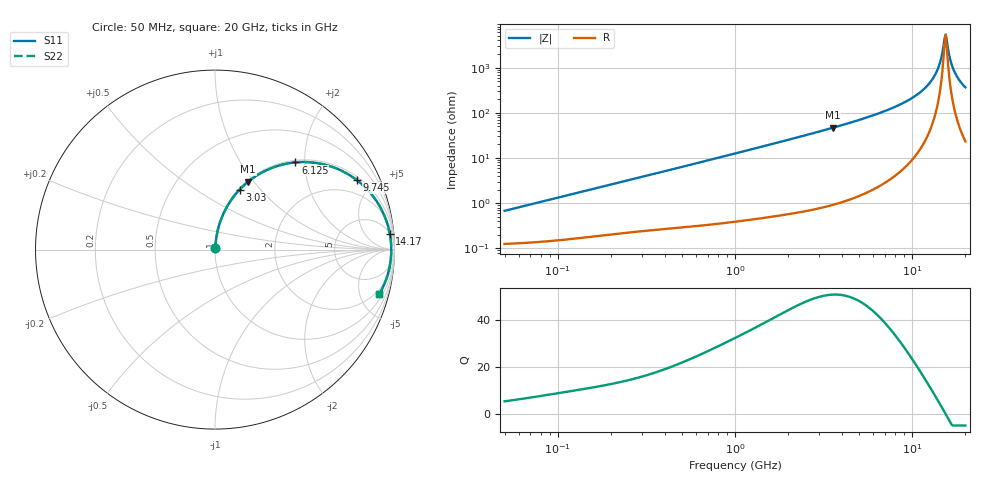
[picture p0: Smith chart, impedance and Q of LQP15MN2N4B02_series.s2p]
!Murata Part Number: LQP15MN2N4B02
!These Parameters are Measured in Series Mode Connection
!  o--[Z]--o
!Port1  Port2
!  o-------o
!Freq. Start=50[MHz] Stop=20[GHz], 401[Steps]
# Hz S RI R 50
!Freq.(Hz) S11(Real) S11(Imag) S21(Real) S21(Imag) S12(Real) S12(Imag) S22(Real) S22(Imag)
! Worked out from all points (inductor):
!   401 points, 50 MHz to 20 GHz, reference 50 ohm
!   read as one part in series: L = 2.11 nH near 51.52 MHz
!   highest Q = 50.9 at 3.572 GHz (marker M1), where L = 2.08 nH
!   self-resonance near 15.27 GHz
!   S11 on the Smith chart (normalised r, x): 50 MHz: 1.00, +0.01; 3.03 GHz: 1.02, +0.78; 6.125 GHz: 1.04, +1.80; 9.745 GHz: 1.16, +3.99; 14.17 GHz: 5, +21; 20 GHz: 1.47, -7.28
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5e7  0.0013 0.00664  0.9987 -0.00664  0.9987 -0.00664  0.0013 0.00664
1.364002e8  0.00202 0.0178  0.998 -0.0178  0.998 -0.0178  0.00202 0.0178
3.721004e8  0.00481 0.0469  0.9952 -0.0469  0.9952 -0.0469  0.00481 0.0469
1e9  0.0192 0.1226  0.9808 -0.1226  0.9808 -0.1226  0.0192 0.1226
2.728004e9  0.1134 0.307  0.8866 -0.307  0.8866 -0.307  0.1134 0.307
3.029571e9  0.137 0.334  0.863 -0.334  0.863 -0.334  0.137 0.334
3.572216e9  0.1838 0.3776  0.8162 -0.3776  0.8162 -0.3776  0.1838 0.3776
6.125241e9  0.4476 0.4859  0.5524 -0.4859  0.5524 -0.4859  0.4476 0.4859
7.442007e9  0.5866 0.479  0.4134 -0.479  0.4134 -0.479  0.5866 0.479
9.745021e9  0.7902 0.3874  0.2098 -0.3874  0.2098 -0.3874  0.7902 0.3874
1.115139e10  0.8787 0.2997  0.1213 -0.2997  0.1213 -0.2997  0.8787 0.2997
1.238412e10  0.9324 0.2138  0.0676 -0.2138  0.0676 -0.2138  0.9324 0.2138
1.334722e10  0.9599 0.145  0.0401 -0.145  0.0401 -0.145  0.9599 0.145
1.417136e10  0.9742 0.0867  0.0258 -0.0867  0.0258 -0.0867  0.9742 0.0867
1.460232e10  0.9787 0.0568  0.0213 -0.0568  0.0213 -0.0568  0.9787 0.0568
1.504638e10  0.9814 0.0267  0.0186 -0.0267  0.0186 -0.0267  0.9814 0.0267
1.550395e10  0.9822 -0.00359  0.0178 0.00359  0.0178 0.00359  0.9822 -0.00359
1.573793e10  0.9819 -0.0187  0.0181 0.0187  0.0181 0.0187  0.9819 -0.0187
1.646126e10  0.9782 -0.064  0.0218 0.064  0.0218 0.064  0.9782 -0.064
1.721783e10  0.9703 -0.1085  0.0297 0.1085  0.0297 0.1085  0.9703 -0.1085
1.855685e10  0.9484 -0.1801  0.0516 0.1801  0.0516 0.1801  0.9484 -0.1801
2e10  0.9165 -0.2465  0.0835 0.2465  0.0835 0.2465  0.9165 -0.2465
